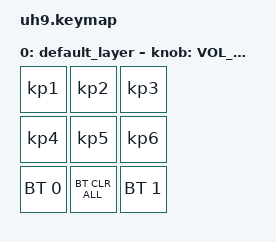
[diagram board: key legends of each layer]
#include <behaviors.dtsi>
#include <dt-bindings/zmk/keys.h>
#include <dt-bindings/zmk/bt.h>


/ {
    keymap {
        compatible = "zmk,keymap";

        default_layer {

            bindings = <
    &kp KP_NUMBER_1          &kp KP_NUMBER_2 &kp KP_NUMBER_3
    &kp KP_NUMBER_4          &kp KP_NUMBER_5 &kp KP_NUMBER_6
    &bt BT_SEL 0          &bt BT_CLR_ALL &bt BT_SEL 1
            >;

            sensor-bindings = <&inc_dec_kp C_VOL_UP C_VOL_DN>;
        };
    };
};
